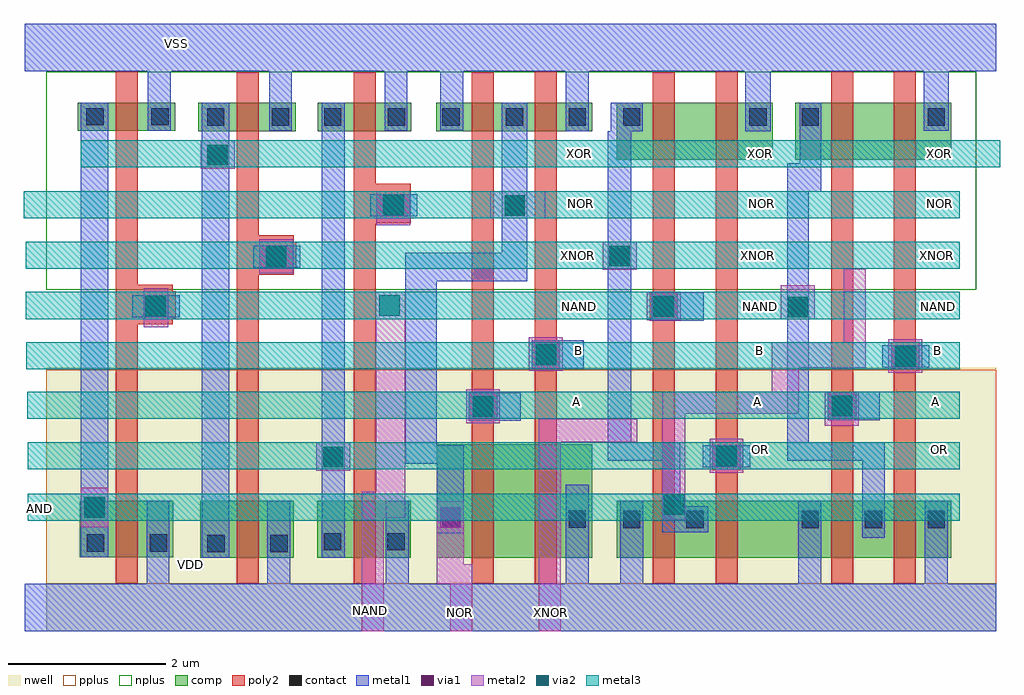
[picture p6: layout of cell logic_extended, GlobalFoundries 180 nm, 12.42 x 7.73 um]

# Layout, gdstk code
import gdstk
lib = gdstk.Library(unit=1e-6, precision=5e-09)
def R(c, l, rs):  # rectangles x0, y0, x1, y1
    for r in rs: c.add(gdstk.rectangle(r[:2], r[2:], *l))
nwell = (21, 0)
comp = (22, 0)
poly2 = (30, 0)
pplus = (31, 0)
nplus = (32, 0)
contact = (33, 0)
metal1 = (34, 0)
via1 = (35, 0)
metal2 = (36, 0)
via2 = (38, 0)
metal3 = (42, 0)

logic_extended = lib.new_cell('logic_extended')
R(logic_extended, nwell, [(-2.83,-27.795,9.26,-24.445)])
R(logic_extended, comp, [(-0.865,-26.86,0.325,-26.14), (0.62,-26.86,1.81,-26.14), (2.145,-26.86,4.12,-25.42), (4.435,-26.86,6.705,-26.14), (6.705,-26.86,8.69,-26.14), (-2.4,-26.855,-1.21,-26.135), (4.435,-21.795,6.42,-21.075), (6.705,-21.795,8.69,-21.075), (-0.89,-21.435,0.35,-21.075), (0.63,-21.435,1.82,-21.075), (2.135,-21.435,4.12,-21.075), (-2.425,-21.43,-1.185,-21.07)])
R(logic_extended, poly2, [(-0.405,-27.195,-0.125,-20.685), (1.085,-27.195,1.365,-20.685), (2.59,-27.195,2.87,-20.685), (3.39,-27.195,3.67,-20.68), (4.89,-27.195,5.17,-20.685), (5.69,-27.195,5.97,-20.68), (7.16,-27.195,7.44,-20.68), (7.96,-27.195,8.24,-20.68), (-1.94,-27.19,-1.66,-20.68), (5.65,-25.75,6.01,-25.39), (2.55,-25.12,2.91,-24.76), (7.12,-25.11,7.48,-24.75), (7.925,-24.48,8.285,-24.12), (7.925,-24.48,8.285,-24.12), (3.35,-24.455,3.71,-24.095), (-1.66,-23.89,-1.215,-23.39), (4.85,-23.845,5.21,-23.485), (-1.625,-23.815,-1.18,-23.47), (-0.125,-23.26,0.32,-22.76), (-0.09,-23.185,0.355,-22.84), (1.365,-22.605,1.81,-22.105)])
R(logic_extended, pplus, [(-2.83,-27.195,9.26,-24.47)])
R(logic_extended, nplus, [(-2.83,-23.455,9.01,-20.675)])
R(logic_extended, contact, [(-0.775,-26.79,-0.555,-26.57), (0.025,-26.79,0.245,-26.57), (-2.31,-26.785,-2.09,-26.565), (-1.51,-26.785,-1.29,-26.565), (0.705,-26.77,0.925,-26.55), (1.515,-26.77,1.735,-26.55), (4.515,-26.485,4.735,-26.265), (5.32,-26.485,5.54,-26.265), (6.785,-26.485,7.005,-26.265), (7.59,-26.485,7.81,-26.265), (8.39,-26.485,8.61,-26.265), (2.215,-26.48,2.435,-26.26), (3.82,-26.48,4.04,-26.26), (5.72,-25.68,5.94,-25.46), (2.62,-25.05,2.84,-24.83), (7.19,-25.04,7.41,-24.82), (7.995,-24.41,8.215,-24.19), (7.995,-24.41,8.215,-24.19), (3.42,-24.385,3.64,-24.165), (4.92,-23.775,5.14,-23.555), (-1.545,-23.77,-1.325,-23.55), (-1.545,-23.77,-1.325,-23.55), (-0.01,-23.14,0.21,-22.92), (-0.01,-23.14,0.21,-22.92), (1.48,-22.485,1.7,-22.265), (1.48,-22.485,1.7,-22.265), (-0.78,-21.365,-0.56,-21.145), (0.045,-21.365,0.265,-21.145), (0.71,-21.365,0.93,-21.145), (1.52,-21.365,1.74,-21.145), (2.215,-21.365,2.435,-21.145), (3.02,-21.365,3.24,-21.145), (3.82,-21.365,4.04,-21.145), (4.515,-21.365,4.735,-21.145), (6.12,-21.365,6.34,-21.145), (6.785,-21.365,7.005,-21.145), (8.39,-21.365,8.61,-21.145), (-2.315,-21.36,-2.095,-21.14), (-1.49,-21.36,-1.27,-21.14)])
R(logic_extended, metal1, [(-3.1,-27.795,9.26,-27.195), (-0.015,-27.285,0.275,-26.14), (-1.55,-27.28,-1.26,-26.135), (1.495,-27.28,1.785,-26.14), (8.355,-27.28,8.645,-26.14), (3.785,-27.275,4.075,-25.935), (4.48,-27.275,4.77,-26.14), (6.745,-27.275,7.035,-26.14), (-0.85,-26.86,-0.5,-21.075), (0.68,-26.86,0.97,-21.075), (-2.385,-26.855,-2.035,-21.07), (7.555,-26.605,7.845,-25.4), (2.145,-26.55,2.485,-26.23), (5.01,-26.54,5.6,-26.21), (5.01,-26.29,5.24,-25.395), (2.145,-26.23,2.485,-25.665), (5.53,-25.71,6.13,-25.43), (1.74,-25.665,2.145,-22.98), (1.74,-25.665,2.485,-25.43), (4.32,-25.625,4.62,-21.435), (4.355,-25.625,5.24,-25.395), (6.605,-25.625,6.875,-21.845), (6.625,-25.625,7.845,-25.395), (2.55,-25.12,3.21,-24.76), (7.12,-25.11,7.78,-24.75), (3.35,-24.455,4.01,-24.095), (7.81,-24.44,8.41,-24.16), (7.81,-24.44,8.41,-24.16), (4.88,-23.845,5.54,-23.485), (-1.73,-23.8,-1.13,-23.52), (-1.73,-23.8,-1.13,-23.52), (2.145,-23.345,3.295,-22.98), (2.97,-23.345,3.295,-21.075), (-0.195,-23.17,0.405,-22.89), (-0.195,-23.17,0.405,-22.89), (1.295,-22.515,1.895,-22.235), (1.295,-22.515,1.895,-22.235), (6.625,-22.205,7.035,-21.845), (6.76,-22.205,7.035,-21.075), (3.785,-21.435,4.075,-20.08), (4.355,-21.435,4.765,-21.075), (6.07,-21.435,6.39,-20.08), (-1.535,-21.43,-1.245,-20.075), (0.01,-21.43,0.3,-20.075), (1.48,-21.43,1.77,-20.075), (8.34,-21.43,8.66,-20.075), (2.19,-21.425,2.48,-20.07), (-3.1,-20.67,9.26,-20.07)])
R(logic_extended, via1, [(2.185,-26.48,2.445,-26.22), (-2.345,-26.355,-2.085,-26.095), (0.695,-25.71,0.955,-25.45), (5.7,-25.7,5.96,-25.44), (2.6,-25.07,2.86,-24.81), (7.17,-25.06,7.43,-24.8), (7.975,-24.43,8.235,-24.17), (7.975,-24.43,8.235,-24.17), (3.4,-24.405,3.66,-24.145), (6.61,-23.8,6.87,-23.54), (4.9,-23.795,5.16,-23.535), (-1.565,-23.79,-1.305,-23.53), (-1.565,-23.79,-1.305,-23.53), (-0.03,-23.16,0.23,-22.9), (-0.03,-23.16,0.23,-22.9), (4.34,-23.155,4.6,-22.895), (3.005,-22.51,3.265,-22.25), (1.46,-22.505,1.72,-22.245), (1.46,-22.505,1.72,-22.245), (-0.775,-21.865,-0.515,-21.605)])
R(logic_extended, metal2, [(1.19,-27.795,1.47,-26.355), (2.315,-27.795,2.595,-27.195), (3.44,-27.795,3.72,-25.095), (2.145,-27.195,2.595,-26.945), (2.145,-26.945,2.485,-26.145), (-2.385,-26.475,-2.035,-25.97), (5.01,-26.38,5.305,-24.75), (1.19,-26.355,1.74,-26.02), (1.365,-26.02,1.74,-23.48), (5.615,-25.78,6.045,-25.35), (0.61,-25.755,1.04,-25.395), (3.44,-25.395,4.695,-25.095), (4.34,-25.37,4.6,-25.11), (7.08,-25.18,7.51,-24.75), (2.515,-25.15,2.945,-24.72), (5.01,-25.03,6.75,-24.75), (6.405,-25.03,6.75,-24.12), (7.89,-24.51,8.32,-24.08), (7.89,-24.51,8.32,-24.08), (3.315,-24.485,3.745,-24.055), (6.405,-24.445,7.6,-24.12), (7.32,-24.12,7.6,-23.185), (-1.585,-23.93,-1.275,-23.43), (4.815,-23.84,5.245,-23.48), (6.52,-23.825,6.95,-23.395), (-0.115,-23.24,0.315,-22.81), (-0.115,-23.24,0.315,-22.81), (4.255,-23.2,4.685,-22.84), (1.375,-22.63,1.805,-22.2), (2.825,-22.545,3.52,-22.2), (-0.86,-21.91,-0.43,-21.55)])
R(logic_extended, via2, [(-2.345,-26.355,-2.085,-26.095), (5.03,-26.315,5.29,-26.055), (0.695,-25.71,0.955,-25.45), (5.7,-25.7,5.96,-25.44), (2.6,-25.07,2.86,-24.81), (7.17,-25.06,7.43,-24.8), (7.975,-24.43,8.235,-24.17), (7.975,-24.43,8.235,-24.17), (3.4,-24.405,3.66,-24.145), (6.61,-23.8,6.87,-23.54), (4.9,-23.795,5.16,-23.535), (-1.565,-23.79,-1.305,-23.53), (-1.565,-23.79,-1.305,-23.53), (1.41,-23.78,1.67,-23.52), (-0.03,-23.16,0.23,-22.9), (-0.03,-23.16,0.23,-22.9), (4.34,-23.155,4.6,-22.895), (3.005,-22.51,3.265,-22.25), (1.46,-22.505,1.72,-22.245), (1.46,-22.505,1.72,-22.245), (-0.775,-21.865,-0.515,-21.605)])
R(logic_extended, metal3, [(-3.065,-26.39,8.795,-26.045), (-3.065,-25.735,8.795,-25.39), (-3.07,-25.095,8.795,-24.75), (-3.08,-24.465,8.795,-24.12), (-3.085,-23.825,8.795,-23.48), (-3.09,-23.185,8.795,-22.84), (-3.11,-22.545,8.795,-22.2), (-2.385,-21.895,9.31,-21.55)])
logic_extended.add(gdstk.Label('B', (8.52,-24.22), layer=42, texttype=10))
logic_extended.add(gdstk.Label('XOR', (3.965,-21.72), layer=42, texttype=10))
logic_extended.add(gdstk.Label('NOR', (3.975,-22.36), layer=42, texttype=10))
logic_extended.add(gdstk.Label('XNOR', (3.93,-23.01), layer=42, texttype=10))
logic_extended.add(gdstk.Label('NAND', (3.96,-23.67), layer=42, texttype=10))
logic_extended.add(gdstk.Label('B', (3.95,-24.22), layer=42, texttype=10))
logic_extended.add(gdstk.Label('A', (3.92,-24.87), layer=42, texttype=10))
logic_extended.add(gdstk.Label('XOR', (6.265,-21.72), layer=42, texttype=10))
logic_extended.add(gdstk.Label('NOR', (6.275,-22.36), layer=42, texttype=10))
logic_extended.add(gdstk.Label('XNOR', (6.23,-23.01), layer=42, texttype=10))
logic_extended.add(gdstk.Label('NAND', (6.26,-23.67), layer=42, texttype=10))
logic_extended.add(gdstk.Label('B', (6.25,-24.22), layer=42, texttype=10))
logic_extended.add(gdstk.Label('A', (6.22,-24.87), layer=42, texttype=10))
logic_extended.add(gdstk.Label('OR', (6.265,-25.485), layer=42, texttype=10))
logic_extended.add(gdstk.Label('XOR', (8.535,-21.72), layer=42, texttype=10))
logic_extended.add(gdstk.Label('NOR', (8.545,-22.36), layer=42, texttype=10))
logic_extended.add(gdstk.Label('XNOR', (8.5,-23.01), layer=42, texttype=10))
logic_extended.add(gdstk.Label('NAND', (8.53,-23.67), layer=42, texttype=10))
logic_extended.add(gdstk.Label('A', (8.49,-24.87), layer=42, texttype=10))
logic_extended.add(gdstk.Label('OR', (8.535,-25.485), layer=42, texttype=10))
logic_extended.add(gdstk.Label('AND', (-2.915,-26.235), layer=42, texttype=10))
logic_extended.add(gdstk.Label('VDD', (-0.985,-26.945), layer=34, texttype=10))
logic_extended.add(gdstk.Label('VSS', (-1.165,-20.32), layer=34, texttype=10))
logic_extended.add(gdstk.Label('NOR', (2.435,-27.555), layer=36, texttype=10))
logic_extended.add(gdstk.Label('XNOR', (3.59,-27.555), layer=36, texttype=10))
logic_extended.add(gdstk.Label('NAND', (1.305,-27.54), layer=36, texttype=10))

lib.write_gds('logic_extended.gds')
